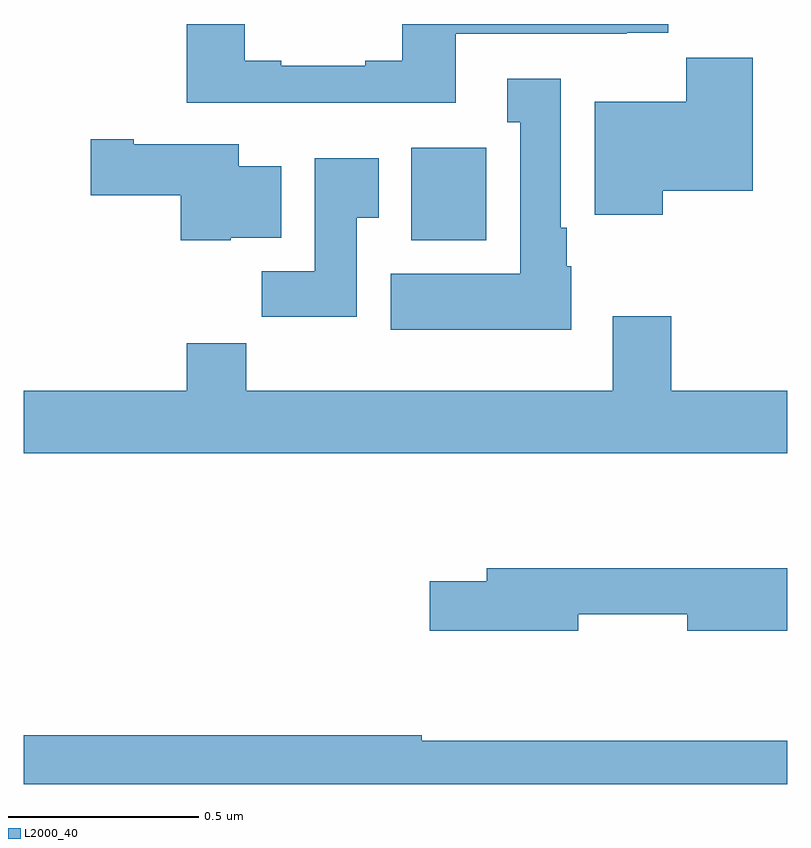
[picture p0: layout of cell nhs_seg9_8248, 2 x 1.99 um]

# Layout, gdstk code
import gdstk
lib = gdstk.Library(unit=1e-6, precision=1e-09)
def R(c, l, rs):  # rectangles x0, y0, x1, y1
    for r in rs: c.add(gdstk.rectangle(r[:2], r[2:], *l))
def P(c, l, *ps):  # polygons
    for p in ps: c.add(gdstk.Polygon(p, *l))
L2000_40 = (2000, 40)

nhs_seg9_8248 = lib.new_cell('nhs_seg9_8248')
R(nhs_seg9_8248, L2000_40, [(215.015,1240.934,215.212,1241.176)])
P(nhs_seg9_8248, L2000_40, [(215.131,1241.475),(215.579,1241.475),(215.579,1241.477),(215.688,1241.477),(215.688,1241.5),(214.991,1241.5),(214.991,1241.404),(214.895,1241.404),(214.895,1241.391),(214.675,1241.391),(214.675,1241.404),(214.579,1241.404),(214.579,1241.5),(214.427,1241.5),(214.427,1241.294),(215.131,1241.294)],
  [(215.674,1241.063),(215.909,1241.063),(215.909,1241.412),(215.735,1241.412),(215.735,1241.296),(215.495,1241.296),(215.495,1241),(215.674,1241)],
  [(215.434,1240.866),(215.422,1240.866),(215.422,1240.966),(215.407,1240.966),(215.407,1241.356),(215.267,1241.356),(215.267,1241.243),(215.3,1241.243),(215.3,1240.846),(214.961,1240.846),(214.961,1240.7),(215.434,1240.7)],
  [(214.542,1240.94),(214.675,1240.94),(214.675,1241.128),(214.564,1241.128),(214.564,1241.185),(214.288,1241.185),(214.288,1241.198),(214.176,1241.198),(214.176,1241.051),(214.412,1241.051),(214.412,1240.934),(214.542,1240.934)],
  [(214.873,1240.993),(214.93,1240.993),(214.93,1241.149),(214.763,1241.149),(214.763,1240.852),(214.624,1240.852),(214.624,1240.734),(214.873,1240.734)],
  [(216,1240.54),(215.696,1240.54),(215.696,1240.735),(215.543,1240.735),(215.543,1240.54),(214.583,1240.54),(214.583,1240.664),(214.427,1240.664),(214.427,1240.54),(214,1240.54),(214,1240.376),(216,1240.376)],
  [(215.452,1239.954),(215.738,1239.954),(215.738,1239.911),(216,1239.911),(216,1240.075),(215.213,1240.075),(215.213,1240.041),(215.064,1240.041),(215.064,1239.911),(215.452,1239.911)],
  [(216,1239.623),(215.042,1239.623),(215.042,1239.638),(214,1239.638),(214,1239.51),(216,1239.51)])

lib.write_gds('nhs_seg9_8248.gds')
